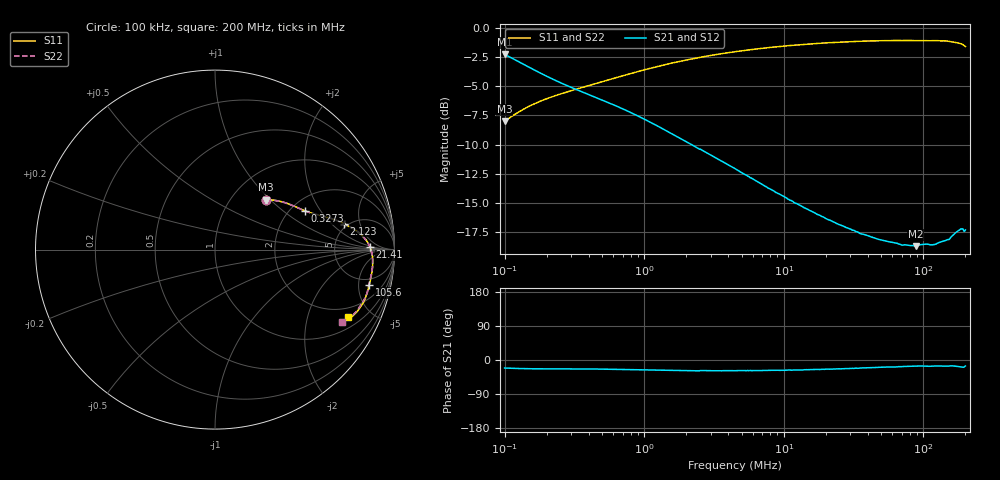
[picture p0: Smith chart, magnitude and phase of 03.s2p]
#  HZ  S  RI  R  50.00
! Rohde & Schwarz Vector Network Analyzer
! Rohde-Schwarz,ZNLE6-2Port,1323001256200024,1.71.1.10-23.02.1.238
! Created: UTC 4/7/2025, 9:59:40 AM
! freq[Hz]  re:S11  im:S11  re:S21  im:S21  re:S12  im:S12  re:S22  im:S22
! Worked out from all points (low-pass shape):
!   1001 points, 100 kHz to 200 MHz, reference 50 ohm
!   highest |S21| = -2.27 dB at 100 kHz (marker M1); lowest = -18.7 dB at 88.01 MHz (marker M2)
!   |S21| within 3 dB of the highest: start of sweep to 325.2 kHz
!   lowest |S11| = -8.0 dB at 100 kHz (marker M3), VSWR 2.32, Z = 71.4 + j47.1 ohm
!   |S11| at or under -10 dB: nowhere
!   |S22| runs from -8.0 to -1.1 dB; largest |S21 - S12| = 0.0068
!   S11 on the Smith chart (normalised r, x): 100 kHz: 1.43, +0.94; 327.3 kHz: 2.39, +1.47; 2.123 MHz: 4.62, +2.90; 21.41 MHz: 14, +1; 105.6 MHz: 3.81, -6.70; 200 MHz: 1.47, -3.61
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100000  0.2841 0.2779  0.7184 -0.2781  0.7192 -0.2779  0.2835 0.2776
134505.5  0.3548 0.2706  0.6476 -0.2712  0.6485 -0.2711  0.3542 0.2704
179547.5  0.4135 0.2533  0.5889 -0.2541  0.5899 -0.2541  0.4129 0.2532
327311.1  0.5027 0.2154  0.4996 -0.2164  0.5004 -0.2165  0.5021 0.2154
355854.1  0.513 0.2115  0.4893 -0.2126  0.4901 -0.2126  0.5125 0.2114
721552.3  0.598 0.1874  0.4044 -0.19  0.4052 -0.1903  0.5973 0.1874
1266322  0.6647 0.1679  0.3367 -0.1723  0.3372 -0.1727  0.6643 0.1679
2123313  0.719 0.1448  0.2813 -0.1513  0.2816 -0.1513  0.7186 0.1446
4472136  0.7832 0.1073  0.2201 -0.118  0.2169 -0.1206  0.7835 0.1089
8468403  0.8242 0.0728  0.178 -0.0919  0.1758 -0.0954  0.8246 0.0731
1.591428e7  0.8539 0.0346  0.1479 -0.0703  0.1465 -0.072  0.8544 0.0326
2.140559e7  0.8644 0.0138  0.137 -0.0618  0.1364 -0.0623  0.8645 0.00975
3.589196e7  0.8762 -0.0331  0.1225 -0.0469  0.1206 -0.0506  0.8762 -0.0368
5.663162e7  0.8782 -0.0875  0.1152 -0.0384  0.1134 -0.0418  0.8775 -0.0953
7.167884e7  0.8744 -0.1229  0.1126 -0.0343  0.1112 -0.0381  0.8713 -0.1337
8.800731e7  0.8675 -0.1598  0.1118 -0.0321  0.111 -0.036  0.8619 -0.1748
1.056193e8  0.8585 -0.197  0.1139 -0.0333  0.1133 -0.0365  0.8528 -0.2168
1.238982e8  0.85 -0.236  0.1144 -0.0321  0.1131 -0.0347  0.8395 -0.2618
1.409882e8  0.8362 -0.2756  0.1177 -0.0341  0.1157 -0.036  0.82 -0.298
1.55631e8  0.8171 -0.3094  0.1212 -0.0337  0.1188 -0.0369  0.8012 -0.3276
1.811826e8  0.7812 -0.357  0.1299 -0.0412  0.1273 -0.046  0.7505 -0.3817
2e8  0.7418 -0.3772  0.1313 -0.0372  0.1326 -0.0418  0.7101 -0.4042
